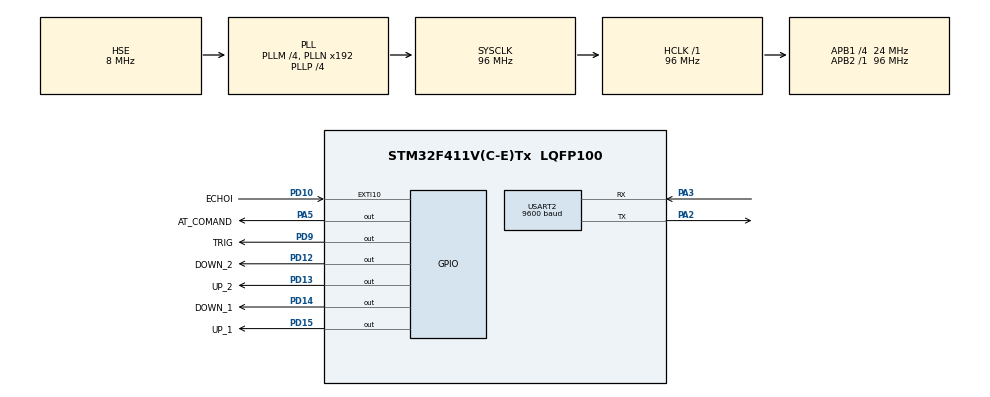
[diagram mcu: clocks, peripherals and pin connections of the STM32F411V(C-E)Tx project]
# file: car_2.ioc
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Mcu.Family=STM32F4
Mcu.Name=STM32F411V(C-E)Tx
Mcu.Package=LQFP100
NVIC.EXTI15_10_IRQn=true\:0\:0\:false\:false\:true\:true\:true
NVIC.PriorityGroup=NVIC_PRIORITYGROUP_0
NVIC.TIM2_IRQn=true\:0\:0\:false\:false\:true\:true\:true
NVIC.USART2_IRQn=true\:0\:0\:false\:false\:true\:true\:true
PA13.Mode=Serial_Wire
PA13.Signal=SYS_JTMS-SWDIO
PA14.GPIO_Label=SWCLK
PA14.Mode=Serial_Wire
PA14.Signal=SYS_JTCK-SWCLK
PA2.Mode=Asynchronous
PA2.Signal=USART2_TX
PA3.Mode=Asynchronous
PA3.Signal=USART2_RX
PA5.GPIO_Label=AT_COMAND
PA5.GPIO_Speed=GPIO_SPEED_FREQ_MEDIUM
PA5.Signal=GPIO_Output
PC14-OSC32_IN.Mode=LSE-External-Oscillator
PC14-OSC32_IN.Signal=RCC_OSC32_IN
PC15-OSC32_OUT.Mode=LSE-External-Oscillator
PC15-OSC32_OUT.Signal=RCC_OSC32_OUT
PD10.GPIO_Label=ECHOI
PD10.GPIO_ModeDefaultEXTI=GPIO_MODE_IT_RISING_FALLING
PD10.Signal=GPXTI10
PD12.GPIO_Label=DOWN_2
PD12.Signal=GPIO_Output
PD13.GPIO_Label=UP_2
PD13.Signal=GPIO_Output
PD14.GPIO_Label=DOWN_1
PD14.Signal=GPIO_Output
PD15.GPIO_Label=UP_1
PD15.Signal=GPIO_Output
PD9.GPIO_Label=TRIG
PD9.Signal=GPIO_Output
PH0\ -\ OSC_IN.Mode=HSE-External-Clock-Source
PH0\ -\ OSC_IN.Signal=RCC_OSC_IN
PH1\ -\ OSC_OUT.Mode=HSE-External-Clock-Source
PH1\ -\ OSC_OUT.Signal=RCC_OSC_OUT
ProjectManager.HeapSize=0x200
ProjectManager.StackSize=0x400
ProjectManager.TargetToolchain=SW4STM32
RCC.48MHZClocksFreq_Value=48000000
RCC.AHBFreq_Value=96000000
RCC.APB1CLKDivider=RCC_HCLK_DIV4
RCC.APB1Freq_Value=24000000
RCC.APB1TimFreq_Value=48000000
RCC.APB2Freq_Value=96000000
RCC.APB2TimFreq_Value=96000000
RCC.CortexFreq_Value=96000000
RCC.HCLKFreq_Value=96000000
RCC.HSE_VALUE=8000000
RCC.HSI_VALUE=16000000
RCC.PLLI2SM=5
RCC.PLLI2SN=200
RCC.PLLM=4
RCC.PLLP=RCC_PLLP_DIV4
RCC.PLLQ=8
RCC.PLLSourceVirtual=RCC_PLLSOURCE_HSE
RCC.SYSCLKFreq_VALUE=96000000
RCC.SYSCLKSource=RCC_SYSCLKSOURCE_PLLCLK
RCC.VCOOutputFreq_Value=384000000
TIM2.Period=4000
TIM2.Prescaler=35999
TIM2.TIM_MasterOutputTrigger=TIM_TRGO_UPDATE
USART2.BaudRate=9600
USART2.VirtualMode=VM_ASYNC
VP_TIM2_VS_ClockSourceINT.Mode=Internal
board=STM32F411E-DISCO

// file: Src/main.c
/* USER CODE BEGIN Header */
/**
  ******************************************************************************
  * @file           : main.c
  * @brief          : Main program body
  ******************************************************************************
  * @attention
  *
  * <h2><center>&copy; Copyright (c) 2019 STMicroelectronics.
  * All rights reserved.</center></h2>
  *
  * This software component is licensed by ST under BSD 3-Clause license,
  * the "License"; You may not use this file except in compliance with the
  * License. You may obtain a copy of the License at:
  *                        opensource.org/licenses/BSD-3-Clause
  *
  ******************************************************************************
  */
/* USER CODE END Header */

#include "main.h"
#include "tim.h"
#include "usart.h"
#include "gpio.h"

/* USER CODE BEGIN PTD */
typedef enum state_t {
 IDLE_S,
 TRIGGERING_S,
 WAITING_FOR_ECHO_START_S,
 WAITING_FOR_ECHO_STOP_S,
 TRIG_NOT_WENT_LOW_S,
 ECHO_TIMEOUT_S,
 ECHO_NOT_WENT_LOW_S,
 READING_DATA_S,
 ERROR_S
} state_t;

volatile state_t state = IDLE_S;

/* USER CODE END PTD */

/* USER CODE BEGIN PV */
unsigned char str1[100] = "NOT STR\n";
unsigned char str2[100] = "STR\n";

/* USER CODE END PV */

void SystemClock_Config(void);
uint8_t byte;
/* USER CODE BEGIN PFP */
volatile uint32_t echo_start;
volatile uint32_t echo_finish;
volatile uint32_t measured_time;

uint32_t getUs(void) {

	uint32_t usTicks = HAL_RCC_GetSysClockFreq() / 1000000;
	register uint32_t ms, cycle_cnt;
	do {
		ms = HAL_GetTick();
		cycle_cnt = SysTick->VAL;
	} while (ms != HAL_GetTick());
		return (ms * 1000) + (usTicks * 1000 - cycle_cnt) / usTicks;
		}

void HAL_GPIO_EXTI_Callback(uint16_t GPIO_Pin)
{
 if (GPIO_Pin == ECHOI_Pin )
 {
  switch (state) {
  case WAITING_FOR_ECHO_START_S: {
   echo_start =  getUs();
   state = WAITING_FOR_ECHO_STOP_S;
   break;
  }
  case WAITING_FOR_ECHO_STOP_S: {
   echo_finish = getUs();
   measured_time = echo_finish - echo_start;
   state = READING_DATA_S;
   break;
  }
  default:
   state = ERROR_S;
  }
 }
}

void reset_all(){
	  HAL_GPIO_WritePin(GPIOD, UP_1_Pin, GPIO_PIN_RESET);
	  HAL_GPIO_WritePin(GPIOD, UP_2_Pin, GPIO_PIN_RESET);
	  HAL_GPIO_WritePin(GPIOD, DOWN_1_Pin, GPIO_PIN_RESET);
	  HAL_GPIO_WritePin(GPIOD, DOWN_2_Pin, GPIO_PIN_RESET);
}

void turn_right(){
	reset_all();
	HAL_UART_Transmit(&huart2, str1, strlen((char*)str1), 100);
	HAL_GPIO_WritePin(GPIOD, UP_1_Pin, 1);
	HAL_GPIO_WritePin(GPIOD, DOWN_1_Pin, 1);
}

void go_up(){
	  reset_all();
		  HAL_UART_Transmit(&huart2, str2, strlen((char*)str2), 100);
		  HAL_GPIO_TogglePin(GPIOD, UP_1_Pin);
		  HAL_GPIO_TogglePin(GPIOD, UP_2_Pin);
}

void go_down(){
	  reset_all();
	  HAL_UART_Transmit(&huart2, str1, strlen((char*)str1), 100);
	  HAL_GPIO_TogglePin(GPIOD, DOWN_1_Pin);
	  HAL_GPIO_TogglePin(GPIOD, DOWN_2_Pin);
}

uint8_t byte_2;

volatile HAL_StatusTypeDef r;

void HAL_UART_RxCpltCallback(UART_HandleTypeDef *huart)
{
  if (huart->Instance == USART2)
  {
	  if (byte == '1'){
		  reset_all();
		  HAL_UART_Transmit(&huart2, str2, strlen((char*)str2), 100);
		  HAL_GPIO_TogglePin(GPIOD, UP_1_Pin);
		  HAL_GPIO_TogglePin(GPIOD, UP_2_Pin);
	    str2[99] = '\0';
	  }
	  if (byte == '2'){
		  reset_all();
		HAL_UART_Transmit(&huart2, str1, strlen((char*)str1), 100);
//		  HAL_GPIO_TogglePin(GPIOD, DOWN_1_Pin);
//		  HAL_GPIO_TogglePin(GPIOD, DOWN_2_Pin);
		str1[99] = '\0';
	  }

	  //left
	  if (byte == '3'){
		  	reset_all();
	  		HAL_UART_Transmit(&huart2, str1, strlen((char*)str1), 100);
//			HAL_GPIO_WritePin(GPIOD, DOWN_2_Pin, 1);
			HAL_GPIO_WritePin(GPIOD, UP_2_Pin, 1);
	  		str1[99] = '\0';
	  	  }

	  //right
	  if (byte == '4'){
		  	reset_all();
	  		HAL_UART_Transmit(&huart2, str1, strlen((char*)str1), 100);
			HAL_GPIO_WritePin(GPIOD, UP_1_Pin, 1);
//			HAL_GPIO_WritePin(GPIOD, DOWN_1_Pin, 1);
	  		str1[99] = '\0';
	  	  }
  }
//  reset_all();
  HAL_UART_Receive_IT(&huart2, &byte, 1);
}

/* USER CODE END PFP */

int main(void)
{
  /* USER CODE BEGIN 1 */
	extern void initialise_monitor_handles(void);
  /* USER CODE END 1 */

  /* MCU Configuration--------------------------------------------------------*/

  /* Reset of all peripherals, Initializes the Flash interface and the Systick. */
  HAL_Init();

  /* Configure the system clock */
  SystemClock_Config();

  /* Initialize all configured peripherals */
  MX_GPIO_Init();
  MX_TIM2_Init();
  MX_USART2_UART_Init();

  /* Infinite loop */
  /* USER CODE BEGIN WHILE */
  HAL_UART_Receive_IT(&huart2, &byte, 1);
  while (1)
  {
	  	  HAL_GPIO_WritePin(TRIG_GPIO_Port, TRIG_Pin, GPIO_PIN_SET);
	  	   HAL_Delay(16);
	  	   HAL_GPIO_WritePin(TRIG_GPIO_Port, TRIG_Pin, GPIO_PIN_RESET);

	  	   state = WAITING_FOR_ECHO_START_S;

	  	   while( state == WAITING_FOR_ECHO_START_S && state != ERROR_S )
	  	   {}
	  	   if ( state == ERROR_S )
	  	   {
	  	    printf("Unexpected error while waiting for ECHO to start.\n");
	  	    continue;
	  	   }
	  	   while( state == WAITING_FOR_ECHO_STOP_S && state != ERROR_S )
	  	   {}
	  	   if ( state == ERROR_S )
	  	   {
	  	    printf("Unexpected error while waiting for ECHO to finish.\n");
	  	    continue;
	  	   }

	  	   uint32_t distance = measured_time/58;

	  	   // 60000 us = 1000 sm       60 us = 1 sm
	  	   if (measured_time <= 60000){
	  		   printf("Time: %lu us, distance: %lu cm\n",
	  			 measured_time,
	  			 distance);
	  	   } else {
	  		   printf("ERROR \n");
	  	   }

	  	   if (distance < 30){
	  		   go_down();
	  		   HAL_Delay(200);
	  		   turn_right();
	  		   HAL_Delay(250);
	  		   reset_all();
	  		   HAL_Delay(50);
//	  		   go_up();
	  	   }

    /* USER CODE END WHILE */

  }
}

void SystemClock_Config(void)
{
  RCC_OscInitTypeDef RCC_OscInitStruct = {0};
  RCC_ClkInitTypeDef RCC_ClkInitStruct = {0};

  /** Configure the main internal regulator output voltage
  */
  __HAL_RCC_PWR_CLK_ENABLE();
  __HAL_PWR_VOLTAGESCALING_CONFIG(PWR_REGULATOR_VOLTAGE_SCALE1);
  /** Initializes the CPU, AHB and APB busses clocks
  */
  RCC_OscInitStruct.OscillatorType = RCC_OSCILLATORTYPE_HSE;
  RCC_OscInitStruct.HSEState = RCC_HSE_BYPASS;
  RCC_OscInitStruct.PLL.PLLState = RCC_PLL_ON;
  RCC_OscInitStruct.PLL.PLLSource = RCC_PLLSOURCE_HSE;
  RCC_OscInitStruct.PLL.PLLM = 4;
  RCC_OscInitStruct.PLL.PLLN = 192;
  RCC_OscInitStruct.PLL.PLLP = RCC_PLLP_DIV4;
  RCC_OscInitStruct.PLL.PLLQ = 8;
  if (HAL_RCC_OscConfig(&RCC_OscInitStruct) != HAL_OK)
  {
    Error_Handler();
  }
  /** Initializes the CPU, AHB and APB busses clocks
  */
  RCC_ClkInitStruct.ClockType = RCC_CLOCKTYPE_HCLK|RCC_CLOCKTYPE_SYSCLK
                              |RCC_CLOCKTYPE_PCLK1|RCC_CLOCKTYPE_PCLK2;
  RCC_ClkInitStruct.SYSCLKSource = RCC_SYSCLKSOURCE_PLLCLK;
  RCC_ClkInitStruct.AHBCLKDivider = RCC_SYSCLK_DIV1;
  RCC_ClkInitStruct.APB1CLKDivider = RCC_HCLK_DIV4;
  RCC_ClkInitStruct.APB2CLKDivider = RCC_HCLK_DIV1;

  if (HAL_RCC_ClockConfig(&RCC_ClkInitStruct, FLASH_LATENCY_3) != HAL_OK)
  {
    Error_Handler();
  }
}

void Error_Handler(void)
{
}

/************************ (C) COPYRIGHT STMicroelectronics *****END OF FILE****/
